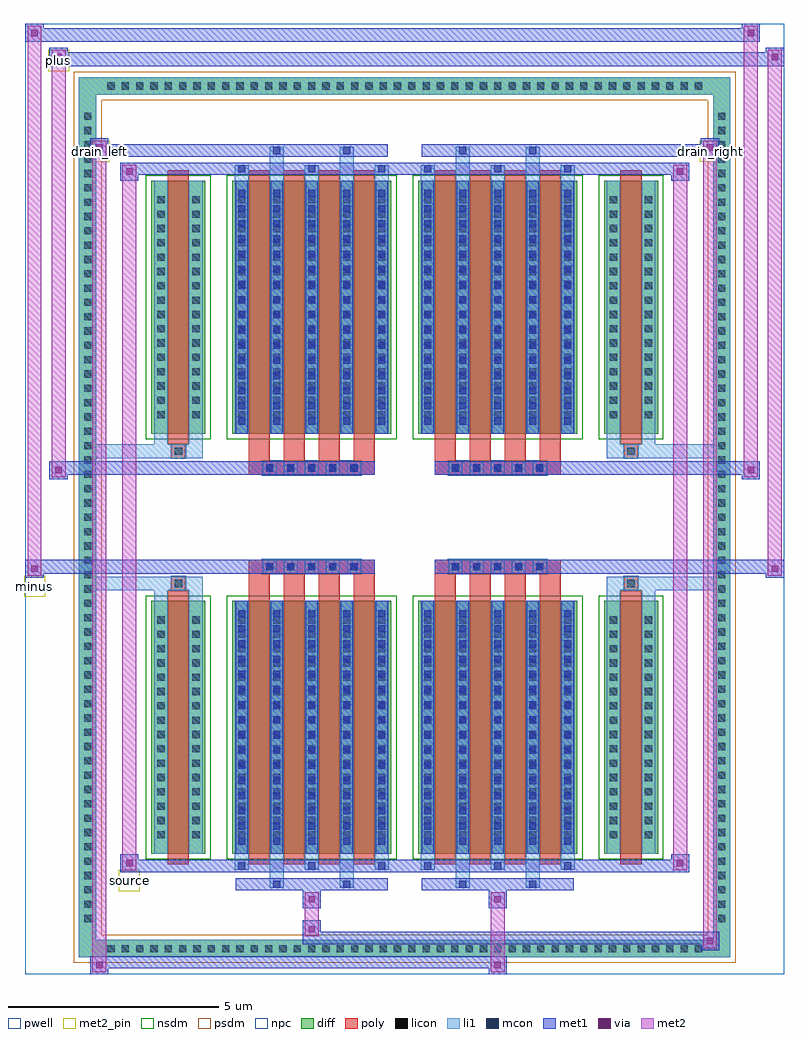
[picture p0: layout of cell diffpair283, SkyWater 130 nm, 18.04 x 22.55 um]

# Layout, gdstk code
import gdstk
lib = gdstk.Library(unit=1e-6, precision=5e-09)
def R(c, l, rs):  # rectangles x0, y0, x1, y1
    for r in rs: c.add(gdstk.rectangle(r[:2], r[2:], *l))
def A(c, l, x, y, w, h, nx, ny, dx, dy):  # array of equal rectangles
    R(c, l, [(x+i*dx, y+j*dy, x+i*dx+w, y+j*dy+h) for i in range(nx) for j in range(ny)])
def P(c, l, *ps):  # polygons
    for p in ps: c.add(gdstk.Polygon(p, *l))
pwell = (64, 44)
diff = (65, 20)
poly = (66, 20)
licon = (66, 44)
li1 = (67, 20)
mcon = (67, 44)
met1 = (68, 20)
via = (68, 44)
met2_pin = (69, 16)
met2 = (69, 20)
nsdm = (93, 44)
psdm = (94, 20)
npc = (95, 20)

diffpair283 = lib.new_cell('diffpair283')
R(diffpair283, pwell, [(-9,-10.84,9,11.71), (-6.32,-9.03,-0.01,-0.805), (0.01,-9.03,6.32,-0.805), (-6.32,0.805,-0.01,9.03), (0.01,0.805,6.32,9.03)])
A(diffpair283, diff, -7.175, -10.44, 0.41, 0.41, 42, 2, 0.34, 20.47)
A(diffpair283, diff, -7.73, -9.725, 0.41, 0.41, 1, 57, 0, 0.34)
A(diffpair283, diff, 7.32, -9.725, 0.41, 0.41, 1, 57, 0, 0.34)
R(diffpair283, diff, [(-7.175,-10.44,7.175,-10.03), (-7.73,-9.725,-7.32,9.725), (7.32,-9.725,7.73,9.725), (-6.01,-7.985,-4.73,-1.985), (-4.09,-7.985,-0.32,-1.985), (0.32,-7.985,4.09,-1.985), (4.73,-7.985,6.01,-1.985), (-6.01,1.985,-4.73,7.985), (-4.09,1.985,-0.32,7.985), (0.32,1.985,4.09,7.985), (4.73,1.985,6.01,7.985), (-7.175,10.03,7.175,10.44)])
P(diffpair283, diff, [(7.73,10.44),(-7.73,10.44),(-7.73,-10.03),(-7.32,-10.03),(-7.32,10.03),(7.32,10.03),(7.32,-10.03),(-7.32,-10.03),(-7.73,-10.03),(-7.73,-10.44),(7.73,-10.44)])
A(diffpair283, poly, -3.7, -8.235, 0.5, 6.5, 4, 2, 0.83, 9.97)
A(diffpair283, poly, 0.71, -8.235, 0.5, 6.5, 4, 2, 0.83, 9.97)
A(diffpair283, poly, -3.7, -1.735, 0.5, 0.4, 4, 2, 0.83, 3.07)
A(diffpair283, poly, 0.71, -1.735, 0.5, 0.4, 4, 2, 0.83, 3.07)
A(diffpair283, poly, -3.37, -1.335, 0.33, 0.33, 5, 2, 0.5, 2.34)
A(diffpair283, poly, 1.04, -1.335, 0.33, 0.33, 5, 2, 0.5, 2.34)
R(diffpair283, poly, [(-5.62,-8.235,-5.12,-1.735), (5.12,-8.235,5.62,-1.735), (-5.535,-1.735,-5.205,-1.405), (-5.535,-1.735,-5.205,-1.405), (5.205,-1.735,5.535,-1.405), (5.205,-1.735,5.535,-1.405), (-3.7,-1.335,-0.71,-1.005), (0.71,-1.335,3.7,-1.005), (-3.7,1.005,-0.71,1.335), (0.71,1.005,3.7,1.335), (-5.535,1.405,-5.205,1.735), (-5.535,1.405,-5.205,1.735), (5.205,1.405,5.535,1.735), (5.205,1.405,5.535,1.735), (-5.62,1.735,-5.12,8.235), (5.12,1.735,5.62,8.235)])
A(diffpair283, licon, -7.055, -10.32, 0.17, 0.17, 42, 2, 0.34, 20.47)
A(diffpair283, licon, -7.61, -9.605, 0.17, 0.17, 1, 57, 0, 0.34)
A(diffpair283, licon, 7.44, -9.605, 0.17, 0.17, 1, 57, 0, 0.34)
A(diffpair283, licon, -5.87, -7.62, 0.17, 0.17, 1, 16, 0, 0.34)
A(diffpair283, licon, -5.04, -7.62, 0.17, 0.17, 1, 16, 0, 0.34)
A(diffpair283, licon, -3.95, -7.62, 0.17, 0.17, 5, 16, 0.83, 0.34)
A(diffpair283, licon, 0.46, -7.62, 0.17, 0.17, 5, 16, 0.83, 0.34)
A(diffpair283, licon, 4.87, -7.62, 0.17, 0.17, 1, 16, 0, 0.34)
A(diffpair283, licon, 5.7, -7.62, 0.17, 0.17, 1, 16, 0, 0.34)
A(diffpair283, licon, -3.29, -1.255, 0.17, 0.17, 5, 2, 0.5, 2.34)
A(diffpair283, licon, 1.12, -1.255, 0.17, 0.17, 5, 2, 0.5, 2.34)
A(diffpair283, licon, -5.87, 2.35, 0.17, 0.17, 1, 16, 0, 0.34)
A(diffpair283, licon, -5.04, 2.35, 0.17, 0.17, 1, 16, 0, 0.34)
A(diffpair283, licon, -3.95, 2.35, 0.17, 0.17, 5, 16, 0.83, 0.34)
A(diffpair283, licon, 0.46, 2.35, 0.17, 0.17, 5, 16, 0.83, 0.34)
A(diffpair283, licon, 4.87, 2.35, 0.17, 0.17, 1, 16, 0, 0.34)
A(diffpair283, licon, 5.7, 2.35, 0.17, 0.17, 1, 16, 0, 0.34)
R(diffpair283, licon, [(-5.455,-1.655,-5.285,-1.485), (5.285,-1.655,5.455,-1.485), (-5.455,1.485,-5.285,1.655), (5.285,1.485,5.455,1.655)])
A(diffpair283, li1, -7.135, -10.4, 0.33, 0.33, 42, 2, 0.34, 20.47)
A(diffpair283, li1, -7.69, -9.685, 0.33, 0.33, 1, 57, 0, 0.34)
A(diffpair283, li1, 7.36, -9.685, 0.33, 0.33, 1, 57, 0, 0.34)
A(diffpair283, li1, -4.03, -8.36, 0.33, 0.375, 3, 2, 1.66, 16.345)
A(diffpair283, li1, -3.95, -8.36, 0.17, 0.17, 3, 2, 1.66, 16.55)
A(diffpair283, li1, 0.38, -8.36, 0.33, 0.375, 3, 2, 1.66, 16.345)
A(diffpair283, li1, 0.46, -8.36, 0.17, 0.17, 3, 2, 1.66, 16.55)
A(diffpair283, li1, -4.03, -7.985, 0.33, 6, 5, 2, 0.83, 9.97)
A(diffpair283, li1, 0.38, -7.985, 0.33, 6, 5, 2, 0.83, 9.97)
A(diffpair283, li1, -3.95, -7.77, 0.17, 0.17, 5, 16, 0.83, 0.36)
A(diffpair283, li1, -3.95, -7.77, 0.17, 5.57, 5, 2, 0.83, 9.97)
A(diffpair283, li1, 0.46, -7.77, 0.17, 0.17, 5, 16, 0.83, 0.36)
A(diffpair283, li1, 0.46, -7.77, 0.17, 5.57, 5, 2, 0.83, 9.97)
A(diffpair283, li1, -5.95, -7.7, 0.33, 0.33, 1, 16, 0, 0.34)
A(diffpair283, li1, -5.12, -7.7, 0.33, 0.33, 1, 16, 0, 0.34)
A(diffpair283, li1, -4.03, -7.7, 0.33, 0.33, 5, 16, 0.83, 0.34)
A(diffpair283, li1, 0.38, -7.7, 0.33, 0.33, 5, 16, 0.83, 0.34)
A(diffpair283, li1, 4.79, -7.7, 0.33, 0.33, 1, 16, 0, 0.34)
A(diffpair283, li1, 5.62, -7.7, 0.33, 0.33, 1, 16, 0, 0.34)
A(diffpair283, li1, -3.37, -1.335, 0.33, 0.33, 5, 2, 0.5, 2.34)
A(diffpair283, li1, 1.04, -1.335, 0.33, 0.33, 5, 2, 0.5, 2.34)
A(diffpair283, li1, -3.95, 2.2, 0.17, 0.17, 5, 16, 0.83, 0.36)
A(diffpair283, li1, 0.46, 2.2, 0.17, 0.17, 5, 16, 0.83, 0.36)
A(diffpair283, li1, -5.95, 2.27, 0.33, 0.33, 1, 16, 0, 0.34)
A(diffpair283, li1, -5.12, 2.27, 0.33, 0.33, 1, 16, 0, 0.34)
A(diffpair283, li1, -4.03, 2.27, 0.33, 0.33, 5, 16, 0.83, 0.34)
A(diffpair283, li1, 0.38, 2.27, 0.33, 0.33, 5, 16, 0.83, 0.34)
A(diffpair283, li1, 4.79, 2.27, 0.33, 0.33, 1, 16, 0, 0.34)
A(diffpair283, li1, 5.62, 2.27, 0.33, 0.33, 1, 16, 0, 0.34)
R(diffpair283, li1, [(-7.73,-10.44,-7.32,-10.03), (-7.73,-10.44,-7.32,-10.03), (-7.32,-10.44,7.32,-10.03), (7.32,-10.44,7.73,-10.03), (7.32,-10.44,7.73,-10.03), (-7.73,-10.03,-7.32,10.03), (7.32,-10.03,7.73,10.03), (-3.2,-8.79,-2.87,-7.985), (-3.12,-8.79,-2.95,-8.62), (-1.54,-8.79,-1.21,-7.985), (-1.46,-8.79,-1.29,-8.62), (1.21,-8.79,1.54,-7.985), (1.29,-8.79,1.46,-8.62), (2.87,-8.79,3.2,-7.985), (2.95,-8.79,3.12,-8.62), (-5.95,-7.985,-5.62,-1.985), (-5.12,-7.985,-4.79,-1.985), (4.79,-7.985,5.12,-1.985), (5.62,-7.985,5.95,-1.985), (-5.95,-1.985,-5.62,-1.405), (-5.12,-1.985,-4.79,-1.405), (4.79,-1.985,5.12,-1.405), (5.62,-1.985,5.95,-1.405), (-7.73,-1.735,-5.535,-1.405), (-5.95,-1.735,-5.535,-1.405), (-5.535,-1.735,-5.205,-1.405), (-5.205,-1.735,-4.79,-1.405), (4.79,-1.735,5.205,-1.405), (5.205,-1.735,5.535,-1.405), (5.205,-1.735,7.73,-1.405), (5.535,-1.735,5.95,-1.405), (-7.73,1.405,-5.535,1.735), (-5.95,1.405,-5.535,1.735), (-5.95,1.405,-5.62,1.985), (-5.535,1.405,-5.205,1.735), (-5.205,1.405,-4.79,1.735), (-5.12,1.405,-4.79,1.985), (4.79,1.405,5.205,1.735), (4.79,1.405,5.12,1.985), (5.205,1.405,5.535,1.735), (5.205,1.405,7.73,1.735), (5.535,1.405,5.95,1.735), (5.62,1.405,5.95,1.985), (-5.95,1.985,-5.62,7.985), (-5.12,1.985,-4.79,7.985), (4.79,1.985,5.12,7.985), (5.62,1.985,5.95,7.985), (-3.2,7.985,-2.87,8.79), (-1.54,7.985,-1.21,8.79), (1.21,7.985,1.54,8.79), (2.87,7.985,3.2,8.79), (-3.12,8.62,-2.95,8.79), (-1.46,8.62,-1.29,8.79), (1.29,8.62,1.46,8.79), (2.95,8.62,3.12,8.79), (-7.73,10.03,-7.32,10.44), (-7.73,10.03,-7.32,10.44), (-7.32,10.03,7.32,10.44), (7.32,10.03,7.73,10.44), (7.32,10.03,7.73,10.44)])
A(diffpair283, mcon, -3.95, -8.36, 0.17, 0.17, 3, 2, 1.66, 16.55)
A(diffpair283, mcon, 0.46, -8.36, 0.17, 0.17, 3, 2, 1.66, 16.55)
A(diffpair283, mcon, -3.95, -7.77, 0.17, 0.17, 5, 16, 0.83, 0.36)
A(diffpair283, mcon, 0.46, -7.77, 0.17, 0.17, 5, 16, 0.83, 0.36)
A(diffpair283, mcon, -3.29, -1.255, 0.17, 0.17, 5, 2, 0.5, 2.34)
A(diffpair283, mcon, 1.12, -1.255, 0.17, 0.17, 5, 2, 0.5, 2.34)
A(diffpair283, mcon, -3.95, 2.2, 0.17, 0.17, 5, 16, 0.83, 0.36)
A(diffpair283, mcon, 0.46, 2.2, 0.17, 0.17, 5, 16, 0.83, 0.36)
R(diffpair283, mcon, [(-3.12,-8.79,-2.95,-8.62), (-1.46,-8.79,-1.29,-8.62), (1.29,-8.79,1.46,-8.62), (2.95,-8.79,3.12,-8.62), (-3.12,8.62,-2.95,8.79), (-1.46,8.62,-1.29,8.79), (1.29,8.62,1.46,8.79), (2.95,8.62,3.12,8.79)])
A(diffpair283, met1, -4.01, -8.42, 0.29, 0.29, 3, 2, 1.66, 16.55)
A(diffpair283, met1, 0.4, -8.42, 0.29, 0.29, 3, 2, 1.66, 16.55)
A(diffpair283, met1, -4.01, -7.985, 0.29, 6, 5, 2, 0.83, 9.97)
A(diffpair283, met1, 0.4, -7.985, 0.29, 6, 5, 2, 0.83, 9.97)
A(diffpair283, met1, -4.01, -7.83, 0.29, 0.29, 5, 16, 0.83, 0.36)
A(diffpair283, met1, 0.4, -7.83, 0.29, 0.29, 5, 16, 0.83, 0.36)
A(diffpair283, met1, -3.35, -1.315, 0.29, 0.29, 5, 2, 0.5, 2.34)
A(diffpair283, met1, 1.06, -1.315, 0.29, 0.29, 5, 2, 0.5, 2.34)
A(diffpair283, met1, -4.01, 2.14, 0.29, 0.29, 5, 16, 0.83, 0.36)
A(diffpair283, met1, 0.4, 2.14, 0.29, 0.29, 5, 16, 0.83, 0.36)
R(diffpair283, met1, [(-7.46,-10.84,-7.03,-10.41), (1.99,-10.84,2.42,-10.41), (-7.46,-10.7,2.42,-10.41), (7.03,-10.27,7.46,-9.84), (-2.42,-10.13,7.46,-9.84), (-2.42,-9.99,-1.99,-9.56), (-2.42,-9.28,-1.99,-8.85), (1.99,-9.28,2.42,-8.85), (-4.01,-8.85,-0.4,-8.56), (-3.18,-8.85,-2.89,-8.56), (-1.52,-8.85,-1.23,-8.56), (0.4,-8.85,4.01,-8.56), (1.23,-8.85,1.52,-8.56), (2.89,-8.85,3.18,-8.56), (-6.75,-8.42,-6.32,-7.99), (-6.75,-8.42,-4.01,-8.13), (-4.01,-8.42,-0.4,-8.13), (-0.4,-8.42,0.4,-8.13), (0.4,-8.42,4.01,-8.13), (4.01,-8.42,6.75,-8.13), (6.32,-8.42,6.75,-7.99), (-9,-1.435,-8.57,-1.005), (8.57,-1.435,9,-1.005), (-9,-1.335,-0.71,-1.005), (-3.7,-1.335,-0.71,-1.005), (0.71,-1.335,3.7,-1.005), (0.71,-1.335,9,-1.005), (-8.43,0.905,-8,1.335), (8,0.905,8.43,1.335), (-8.43,1.005,-3.7,1.335), (-3.7,1.005,-0.71,1.335), (0.71,1.005,3.7,1.335), (3.7,1.005,8.43,1.335), (-6.75,7.99,-6.32,8.42), (6.32,7.99,6.75,8.42), (-6.75,8.13,-4.01,8.42), (-4.01,8.13,-0.4,8.42), (-0.4,8.13,0.4,8.42), (0.4,8.13,4.01,8.42), (4.01,8.13,6.75,8.42), (-7.46,8.56,-7.03,8.99), (-7.46,8.56,-4.01,8.85), (-4.01,8.56,-0.4,8.85), (-3.18,8.56,-2.89,8.85), (-1.52,8.56,-1.23,8.85), (0.4,8.56,4.01,8.85), (1.23,8.56,1.52,8.85), (2.89,8.56,3.18,8.85), (4.01,8.56,7.46,8.85), (7.03,8.56,7.46,8.99), (-8.43,10.71,-8,11.14), (-8.43,10.71,-6.32,11.04), (-6.32,10.71,6.32,11.04), (6.32,10.71,9,11.04), (8.57,10.71,9,11.14), (-9,11.28,-8.57,11.71), (-9,11.28,-6.32,11.61), (-6.32,11.28,6.32,11.61), (6.32,11.28,8.43,11.61), (8,11.28,8.43,11.71)])
R(diffpair283, via, [(-7.32,-10.7,-7.17,-10.55), (2.13,-10.7,2.28,-10.55), (7.17,-10.13,7.32,-9.98), (-2.28,-9.85,-2.13,-9.7), (-2.28,-9.14,-2.13,-8.99), (2.13,-9.14,2.28,-8.99), (-6.61,-8.28,-6.46,-8.13), (6.46,-8.28,6.61,-8.13), (-8.86,-1.295,-8.71,-1.145), (8.71,-1.295,8.86,-1.145), (-8.29,1.045,-8.14,1.195), (8.14,1.045,8.29,1.195), (-6.61,8.13,-6.46,8.28), (6.46,8.13,6.61,8.28), (-7.32,8.7,-7.17,8.85), (7.17,8.7,7.32,8.85), (-8.29,10.85,-8.14,11), (8.71,10.85,8.86,11), (-8.86,11.42,-8.71,11.57), (8.14,11.42,8.29,11.57)])
R(diffpair283, met2_pin, [(-6.785,-8.87,-6.285,-8.37), (-9.035,-1.885,-8.535,-1.385), (-7.495,8.44,-6.995,8.94), (6.995,8.44,7.495,8.94), (-8.465,10.59,-7.965,11.09)])
R(diffpair283, met2, [(-7.41,-10.79,-7.08,-10.46), (-7.41,-10.79,-7.08,8.94), (2.04,-10.79,2.37,-10.46), (2.04,-10.46,2.37,-9.23), (7.08,-10.22,7.41,-9.89), (7.08,-10.22,7.41,8.94), (-2.37,-9.94,-2.04,-9.61), (-2.37,-9.61,-2.04,-9.23), (-2.37,-9.23,-2.04,-8.9), (2.04,-9.23,2.37,-8.9), (-6.7,-8.37,-6.37,-8.04), (-6.7,-8.37,-6.37,8.37), (6.37,-8.37,6.7,-8.04), (6.37,-8.37,6.7,8.37), (-8.95,-1.385,-8.62,-1.055), (-8.95,-1.385,-8.62,11.66), (8.62,-1.385,8.95,-1.055), (8.62,-1.385,8.95,11.09), (-8.38,0.955,-8.05,1.285), (-8.38,0.955,-8.05,11.09), (8.05,0.955,8.38,1.285), (8.05,0.955,8.38,11.66), (-6.7,8.04,-6.37,8.37), (6.37,8.04,6.7,8.37), (-7.41,8.61,-7.08,8.94), (7.08,8.61,7.41,8.94), (-8.38,10.76,-8.05,11.09), (8.62,10.76,8.95,11.09), (-8.95,11.33,-8.62,11.66), (8.05,11.33,8.38,11.66)])
P(diffpair283, met2, [(8.95,-1.385),(8.95,-1.385),(8.95,-1.055),(8.95,-1.055)],
  [(8.95,10.76),(8.95,10.76),(8.95,11.09),(8.95,11.09)],
  [(-8.62,-1.385),(-8.62,-1.385),(-8.62,-1.055),(-8.62,-1.055)],
  [(-8.62,11.33),(-8.62,11.33),(-8.62,11.66),(-8.62,11.66)],
  [(8.38,0.955),(8.38,0.955),(8.38,1.285),(8.38,1.285)],
  [(8.38,11.33),(8.38,11.33),(8.38,11.66),(8.38,11.66)],
  [(-8.05,0.955),(-8.05,0.955),(-8.05,1.285),(-8.05,1.285)],
  [(-8.05,10.76),(-8.05,10.76),(-8.05,11.09),(-8.05,11.09)],
  [(-7.08,-10.79),(-7.08,-10.79),(-7.08,-10.46),(-7.08,-10.46)],
  [(-7.08,8.61),(-7.08,8.61),(-7.08,8.94),(-7.08,8.94)],
  [(7.41,-10.22),(7.41,-10.22),(7.41,-9.89),(7.41,-9.89)],
  [(7.41,8.61),(7.41,8.61),(7.41,8.94),(7.41,8.94)],
  [(-6.37,-8.37),(-6.37,-8.37),(-6.37,-8.04),(-6.37,-8.04)],
  [(-6.37,8.04),(-6.37,8.04),(-6.37,8.37),(-6.37,8.37)],
  [(6.7,-8.37),(6.7,-8.37),(6.7,-8.04),(6.7,-8.04)],
  [(6.7,8.04),(6.7,8.04),(6.7,8.37),(6.7,8.37)])
R(diffpair283, nsdm, [(-6.14,-8.115,-4.6,-1.855), (-4.22,-8.115,-0.19,-1.855), (0.19,-8.115,4.22,-1.855), (4.6,-8.115,6.14,-1.855), (-6.14,1.855,-4.6,8.115), (-4.22,1.855,-0.19,8.115), (0.19,1.855,4.22,8.115), (4.6,1.855,6.14,8.115)])
P(diffpair283, psdm, [(7.86,10.57),(-7.86,10.57),(-7.86,-9.9),(-7.19,-9.9),(-7.19,9.9),(7.19,9.9),(7.19,-9.9),(-7.19,-9.9),(-7.86,-9.9),(-7.86,-10.57),(7.86,-10.57)])
A(diffpair283, npc, -3.39, -1.355, 0.37, 0.37, 5, 2, 0.5, 2.34)
A(diffpair283, npc, 1.02, -1.355, 0.37, 0.37, 5, 2, 0.5, 2.34)
R(diffpair283, npc, [(-5.555,-1.755,-5.185,-1.385), (5.185,-1.755,5.555,-1.385), (-3.39,-1.355,-2.52,-0.985), (-3.39,-1.355,-2.52,-0.985), (-2.89,-1.355,-2.02,-0.985), (-2.89,-1.355,-2.02,-0.985), (-2.39,-1.355,-1.52,-0.985), (-2.39,-1.355,-1.52,-0.985), (-1.89,-1.355,-1.02,-0.985), (-1.89,-1.355,-1.02,-0.985), (1.02,-1.355,1.89,-0.985), (1.02,-1.355,1.89,-0.985), (1.52,-1.355,2.39,-0.985), (1.52,-1.355,2.39,-0.985), (2.02,-1.355,2.89,-0.985), (2.02,-1.355,2.89,-0.985), (2.52,-1.355,3.39,-0.985), (2.52,-1.355,3.39,-0.985), (-3.39,0.985,-2.52,1.355), (-3.39,0.985,-2.52,1.355), (-2.89,0.985,-2.02,1.355), (-2.89,0.985,-2.02,1.355), (-2.39,0.985,-1.52,1.355), (-2.39,0.985,-1.52,1.355), (-1.89,0.985,-1.02,1.355), (-1.89,0.985,-1.02,1.355), (1.02,0.985,1.89,1.355), (1.02,0.985,1.89,1.355), (1.52,0.985,2.39,1.355), (1.52,0.985,2.39,1.355), (2.02,0.985,2.89,1.355), (2.02,0.985,2.89,1.355), (2.52,0.985,3.39,1.355), (2.52,0.985,3.39,1.355), (-5.555,1.385,-5.185,1.755), (5.185,1.385,5.555,1.755)])
diffpair283.add(gdstk.Label('minus', (-8.785,-1.635), layer=69, texttype=5))
diffpair283.add(gdstk.Label('drain_right', (7.245,8.69), layer=69, texttype=5))
diffpair283.add(gdstk.Label('drain_left', (-7.245,8.69), layer=69, texttype=5))
diffpair283.add(gdstk.Label('source', (-6.535,-8.62), layer=69, texttype=5))
diffpair283.add(gdstk.Label('plus', (-8.215,10.84), layer=69, texttype=5))

lib.write_gds('diffpair283.gds')
